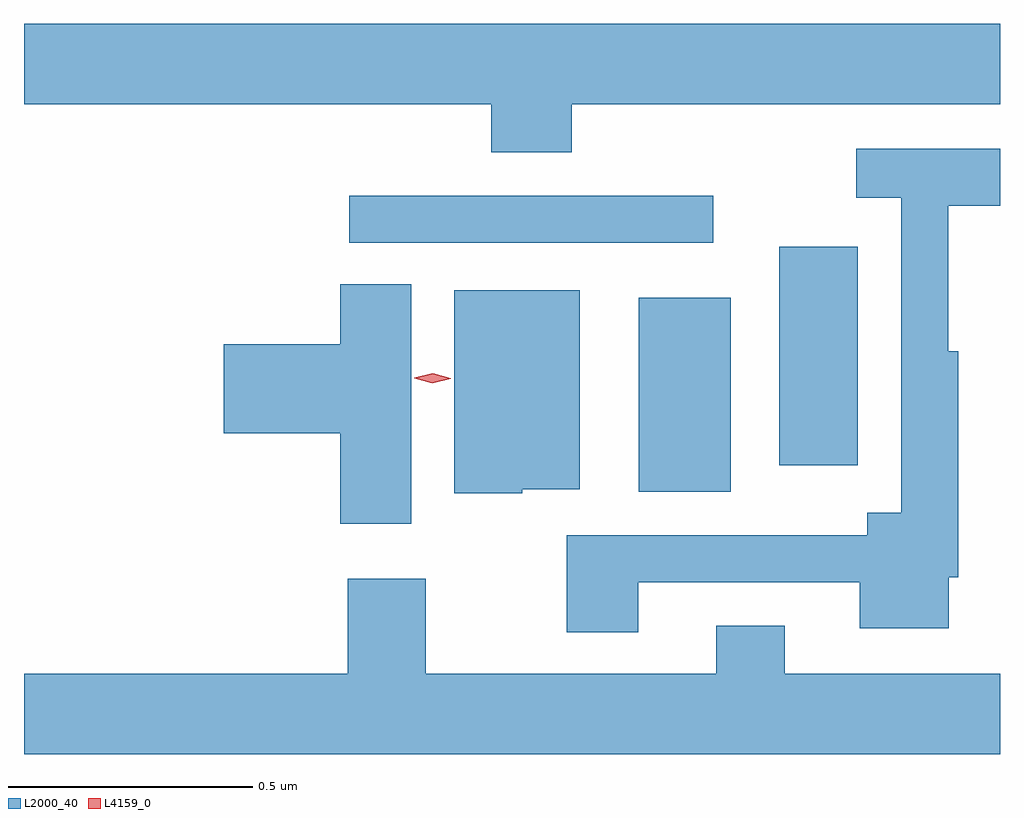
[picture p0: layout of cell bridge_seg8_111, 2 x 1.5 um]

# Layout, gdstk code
import gdstk
lib = gdstk.Library(unit=1e-6, precision=1e-09)
def R(c, l, rs):  # rectangles x0, y0, x1, y1
    for r in rs: c.add(gdstk.rectangle(r[:2], r[2:], *l))
def P(c, l, *ps):  # polygons
    for p in ps: c.add(gdstk.Polygon(p, *l))
L2000_40 = (2000, 40)
L4159_0 = (4159, 0)

bridge_seg8_111 = lib.new_cell('bridge_seg8_111')
R(bridge_seg8_111, L2000_40, [(763.142,1138.349,763.33,1138.747), (763.43,1138.404,763.591,1138.852), (762.549,1138.86,763.294,1138.956)])
P(bridge_seg8_111, L2000_40, [(763.004,1139.144),(763.882,1139.144),(763.882,1139.308),(761.882,1139.308),(761.882,1139.144),(762.839,1139.144),(762.839,1139.045),(763.004,1139.045)],
  [(763.141,1138.164),(763.595,1138.164),(763.595,1138.07),(763.777,1138.07),(763.777,1138.174),(763.796,1138.174),(763.796,1138.637),(763.776,1138.637),(763.776,1138.936),(763.882,1138.936),(763.882,1139.052),(763.587,1139.052),(763.587,1138.952),(763.68,1138.952),(763.68,1138.306),(763.61,1138.306),(763.61,1138.26),(762.994,1138.26),(762.994,1138.062),(763.141,1138.062)],
  [(762.676,1138.775),(762.53,1138.775),(762.53,1138.652),(762.291,1138.652),(762.291,1138.469),(762.53,1138.469),(762.53,1138.284),(762.676,1138.284)],
  [(762.903,1138.355),(763.021,1138.355),(763.021,1138.762),(762.764,1138.762),(762.764,1138.346),(762.903,1138.346)],
  [(763.882,1137.976),(763.441,1137.976),(763.441,1138.075),(763.301,1138.075),(763.301,1137.976),(762.705,1137.976),(762.705,1138.171),(762.545,1138.171),(762.545,1137.976),(761.882,1137.976),(761.882,1137.812),(763.882,1137.812)])
P(bridge_seg8_111, L4159_0, [(762.719,1138.572),(762.682,1138.582),(762.682,1138.583),(762.682,1138.583),(762.72,1138.592),(762.756,1138.582),(762.756,1138.581),(762.756,1138.581)])

lib.write_gds('bridge_seg8_111.gds')
